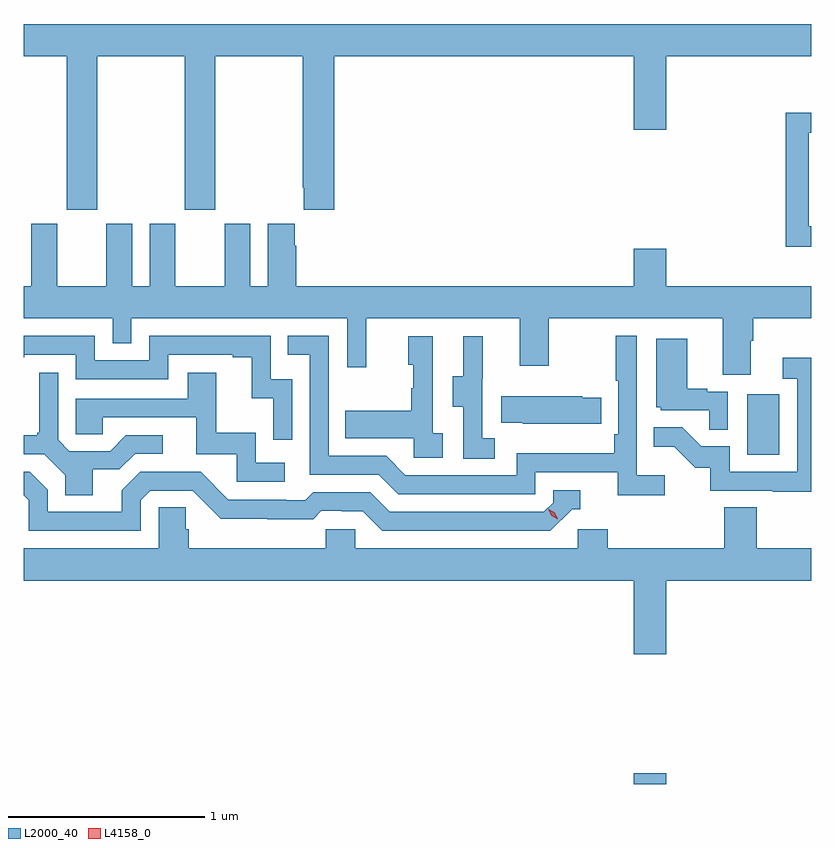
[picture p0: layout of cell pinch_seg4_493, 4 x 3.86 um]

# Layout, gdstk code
import gdstk
lib = gdstk.Library(unit=1e-6, precision=1e-09)
def R(c, l, rs):  # rectangles x0, y0, x1, y1
    for r in rs: c.add(gdstk.rectangle(r[:2], r[2:], *l))
def P(c, l, *ps):  # polygons
    for p in ps: c.add(gdstk.Polygon(p, *l))
L2000_40 = (2000, 40)
L4158_0 = (4158, 0)

pinch_seg4_493 = lib.new_cell('pinch_seg4_493')
R(pinch_seg4_493, L2000_40, [(896.276,750.499,896.44,750.553), (896.852,752.172,897.016,752.479)])
P(pinch_seg4_493, L2000_40, [(893.55,754.196),(893.995,754.196),(893.995,753.417),(894.15,753.417),(894.15,754.196),(894.595,754.196),(894.595,753.529),(894.599,753.529),(894.599,753.417),(894.755,753.417),(894.755,754.196),(896.276,754.196),(896.276,753.822),(896.44,753.822),(896.44,754.196),(897.177,754.196),(897.177,754.36),(893.177,754.36),(893.177,754.196),(893.395,754.196),(893.395,753.417),(893.55,753.417)],
  [(897.177,753.333),(897.165,753.333),(897.165,753.807),(897.177,753.807),(897.177,753.908),(897.049,753.908),(897.049,753.228),(897.177,753.228)],
  [(896.869,752.752),(896.882,752.752),(896.882,752.864),(897.177,752.864),(897.177,753.028),(896.44,753.028),(896.44,753.217),(896.276,753.217),(896.276,753.028),(894.56,753.028),(894.56,753.233),(894.553,753.233),(894.553,753.346),(894.416,753.346),(894.416,753.028),(894.328,753.028),(894.328,753.346),(894.197,753.346),(894.197,753.028),(893.947,753.028),(893.947,753.346),(893.816,753.346),(893.816,753.028),(893.728,753.028),(893.728,753.346),(893.597,753.346),(893.597,753.028),(893.347,753.028),(893.347,753.346),(893.216,753.346),(893.216,753.028),(893.177,753.028),(893.177,752.864),(893.628,752.864),(893.628,752.737),(893.724,752.737),(893.724,752.864),(894.819,752.864),(894.819,752.616),(894.917,752.616),(894.917,752.864),(895.697,752.864),(895.697,752.625),(895.845,752.625),(895.845,752.864),(896.729,752.864),(896.729,752.578),(896.869,752.578)],
  [(896.434,752.068),(896.292,752.068),(896.292,752.776),(896.184,752.776),(896.184,752.548),(896.196,752.548),(896.196,752.275),(896.176,752.275),(896.176,752.179),(895.68,752.179),(895.68,752.067),(895.116,752.067),(895.017,752.166),(894.726,752.166),(894.726,752.775),(894.517,752.775),(894.517,752.679),(894.63,752.679),(894.63,752.07),(894.98,752.07),(895.079,751.971),(895.776,751.971),(895.776,752.082),(896.195,752.082),(896.195,751.966),(896.434,751.966)],
  [(894.54,752.556),(894.432,752.556),(894.432,752.775),(893.814,752.775),(893.814,752.652),(893.538,752.652),(893.538,752.775),(893.177,752.775),(893.177,752.667),(893.179,752.667),(893.179,752.679),(893.442,752.679),(893.442,752.556),(893.91,752.556),(893.91,752.679),(894.239,752.679),(894.239,752.667),(894.335,752.667),(894.335,752.459),(894.444,752.459),(894.444,752.247),(894.54,752.247)],
  [(895.57,752.255),(895.506,752.255),(895.506,752.559),(895.508,752.559),(895.508,752.773),(895.409,752.773),(895.409,752.571),(895.355,752.571),(895.355,752.416),(895.41,752.416),(895.41,752.152),(895.57,752.152)],
  [(895.306,752.282),(895.254,752.282),(895.254,752.773),(895.13,752.773),(895.13,752.628),(895.156,752.628),(895.156,752.51),(895.146,752.51),(895.146,752.395),(894.811,752.395),(894.811,752.255),(895.158,752.255),(895.158,752.157),(895.306,752.157)],
  [(896.754,752.493),(896.648,752.493),(896.648,752.506),(896.548,752.506),(896.548,752.761),(896.39,752.761),(896.39,752.412),(896.412,752.412),(896.412,752.397),(896.659,752.397),(896.659,752.299),(896.754,752.299)],
  [(897.177,752.665),(897.033,752.665),(897.033,752.559),(897.105,752.559),(897.105,752.085),(896.763,752.085),(896.763,752.214),(896.619,752.214),(896.521,752.312),(896.377,752.312),(896.377,752.213),(896.481,752.213),(896.588,752.106),(896.665,752.106),(896.665,751.989),(896.983,751.989),(896.983,751.984),(897.177,751.984)],
  [(893.527,752.098),(893.662,752.098),(893.742,752.178),(893.884,752.178),(893.884,752.271),(893.696,752.271),(893.615,752.19),(893.409,752.19),(893.352,752.247),(893.352,752.587),(893.255,752.587),(893.255,752.284),(893.244,752.284),(893.244,752.272),(893.177,752.272),(893.177,752.175),(893.28,752.175),(893.387,752.068),(893.387,751.966),(893.527,751.966)],
  [(894.502,752.13),(894.354,752.13),(894.354,752.284),(894.155,752.284),(894.155,752.587),(894.011,752.587),(894.011,752.457),(893.442,752.457),(893.442,752.277),(893.579,752.277),(893.579,752.361),(894.053,752.361),(894.053,752.175),(894.258,752.175),(894.258,752.034),(894.502,752.034)],
  [(896.111,752.46),(896.013,752.46),(896.013,752.47),(895.603,752.47),(895.603,752.333),(895.711,752.333),(895.711,752.33),(896.111,752.33)],
  [(893.772,751.941),(893.82,751.989),(894.036,751.989),(894.178,751.847),(894.414,751.847),(894.414,751.845),(894.647,751.845),(894.689,751.887),(894.792,751.887),(894.792,751.884),(894.899,751.884),(894.998,751.785),(895.851,751.785),(895.962,751.896),(896.005,751.896),(896.005,751.992),(895.866,751.992),(895.866,751.929),(895.818,751.881),(895.035,751.881),(894.936,751.98),(894.647,751.98),(894.608,751.941),(894.509,751.941),(894.509,751.944),(894.216,751.944),(894.075,752.085),(893.769,752.085),(893.675,751.991),(893.675,751.881),(893.298,751.881),(893.298,751.995),(893.208,752.085),(893.177,752.085),(893.177,751.966),(893.202,751.941),(893.202,751.785),(893.772,751.785)],
  [(896.44,751.532),(897.177,751.532),(897.177,751.696),(896.9,751.696),(896.9,751.904),(896.735,751.904),(896.735,751.696),(896.144,751.696),(896.144,751.794),(895.992,751.794),(895.992,751.696),(894.861,751.696),(894.861,751.794),(894.711,751.794),(894.711,751.696),(894.014,751.696),(894.014,751.794),(893.999,751.794),(893.999,751.904),(893.862,751.904),(893.862,751.696),(893.177,751.696),(893.177,751.532),(896.276,751.532),(896.276,751.158),(896.44,751.158)])
P(pinch_seg4_493, L4158_0, [(895.89,751.844),(895.859,751.863),(895.842,751.895),(895.842,751.896),(895.843,751.896),(895.874,751.876),(895.89,751.844),(895.89,751.844)])

lib.write_gds('pinch_seg4_493.gds')
